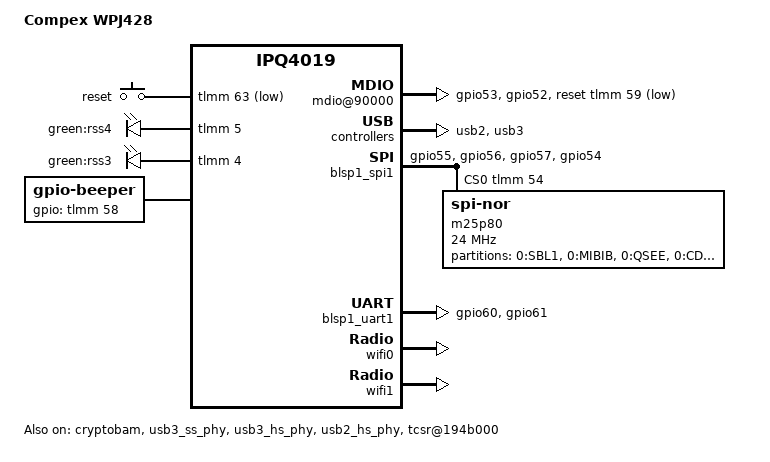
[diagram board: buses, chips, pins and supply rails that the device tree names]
/* Copyright (c) 2015, The Linux Foundation. All rights reserved.
 * Copyright (c) 2017, Christian Mehlis <christian@m3hlis.de>
 * Copyright (c) 2017-2018, Sven Eckelmann <sven.eckelmann@openmesh.com>
 *
 * Permission to use, copy, modify, and/or distribute this software for any
 * purpose with or without fee is hereby granted, provided that the above
 * copyright notice and this permission notice appear in all copies.
 *
 * THE SOFTWARE IS PROVIDED "AS IS" AND THE AUTHOR DISCLAIMS ALL WARRANTIES
 * WITH REGARD TO THIS SOFTWARE INCLUDING ALL IMPLIED WARRANTIES OF
 * MERCHANTABILITY AND FITNESS. IN NO EVENT SHALL THE AUTHOR BE LIABLE FOR
 * ANY SPECIAL, DIRECT, INDIRECT, OR CONSEQUENTIAL DAMAGES OR ANY DAMAGES
 * WHATSOEVER RESULTING FROM LOSS OF USE, DATA OR PROFITS, WHETHER IN AN
 * ACTION OF CONTRACT, NEGLIGENCE OR OTHER TORTIOUS ACTION, ARISING OUT OF
 * OR IN CONNECTION WITH THE USE OR PERFORMANCE OF THIS SOFTWARE.
 *
 */

#include "qcom-ipq4019.dtsi"
#include <dt-bindings/gpio/gpio.h>
#include <dt-bindings/input/input.h>
#include <dt-bindings/soc/qcom,tcsr.h>

/ {
	model = "Compex WPJ428";
	compatible = "compex,wpj428";

	soc {
		rng@22000 {
			status = "okay";
		};

		mdio@90000 {
			status = "okay";
			pinctrl-0 = <&mdio_pins>;
			pinctrl-names = "default";
			reset-gpios = <&tlmm 59 GPIO_ACTIVE_LOW>;
			reset-delay-us = <2000>;
		};

		ess-psgmii@98000 {
			status = "okay";
		};

		tcsr@194b000 {
			/* select hostmode */
			compatible = "qcom,tcsr";
			reg = <0x194b000 0x100>;
			qcom,usb-hsphy-mode-select = <TCSR_USB_HSPHY_HOST_MODE>;
			status = "okay";
		};

		tcsr@1949000 {
			compatible = "qcom,tcsr";
			reg = <0x1949000 0x100>;
			qcom,wifi_glb_cfg = <TCSR_WIFI_GLB_CFG>;
		};

		ess_tcsr@1953000 {
			compatible = "qcom,tcsr";
			reg = <0x1953000 0x1000>;
			qcom,ess-interface-select = <TCSR_ESS_PSGMII>;
		};

		tcsr@1957000 {
			compatible = "qcom,tcsr";
			reg = <0x1957000 0x100>;
			qcom,wifi_noc_memtype_m0_m2 = <TCSR_WIFI_NOC_MEMTYPE_M0_M2>;
		};

		usb2: usb2@60f8800 {
			status = "okay";
		};

		usb3: usb3@8af8800 {
			status = "okay";
		};

		crypto@8e3a000 {
			status = "okay";
		};

		watchdog@b017000 {
			status = "okay";
		};

		ess-switch@c000000 {
			switch_lan_bmp = <0x10>;
			switch_wan_bmp = <0x20>;

			status = "okay";
		};

		edma@c080000 {
			status = "okay";
		};
	};

	keys {
		compatible = "gpio-keys";

		reset {
			label = "reset";
			gpios = <&tlmm 63 GPIO_ACTIVE_LOW>;
			linux,code = <KEY_RESTART>;
		};
	};

	aliases {
		led-boot = &status;
		led-failsafe = &status;
		led-upgrade = &status;
	};

	leds {
		compatible = "gpio-leds";

		status: rss4 {
			label = "green:rss4";
			gpios = <&tlmm 5 GPIO_ACTIVE_HIGH>;
		};

		rss3 {
			label = "green:rss3";
			gpios = <&tlmm 4 GPIO_ACTIVE_HIGH>;
		};
	};

	beeper: beeper {
		compatible = "gpio-beeper";
		gpios = <&tlmm 58 GPIO_ACTIVE_HIGH>;
	};
};

&tlmm {
	mdio_pins: mdio_pinmux {
		mux_1 {
			pins = "gpio53";
			function = "mdio";
			bias-pull-up;
		};

		mux_2 {
			pins = "gpio52";
			function = "mdc";
			bias-pull-up;
		};
	};

	serial_pins: serial_pinmux {
		mux {
			pins = "gpio60", "gpio61";
			function = "blsp_uart0";
			bias-disable;
		};
	};

	spi_0_pins: spi_0_pinmux {
		pin {
			function = "blsp_spi0";
			pins = "gpio55", "gpio56", "gpio57";
			drive-strength = <12>;
			bias-disable;
		};
		pin_cs {
			function = "gpio";
			pins = "gpio54";
			drive-strength = <2>;
			bias-disable;
			output-high;
		};
	};
};

&blsp_dma {
	status = "okay";
};

&blsp1_spi1 {
	pinctrl-0 = <&spi_0_pins>;
	pinctrl-names = "default";
	status = "okay";
	cs-gpios = <&tlmm 54 GPIO_ACTIVE_HIGH>;

	m25p80@0 {
		compatible = "jedec,spi-nor";
		reg = <0>;
		spi-max-frequency = <24000000>;

		partitions {
			compatible = "fixed-partitions";
			#address-cells = <1>;
			#size-cells = <1>;

			partition0@0 {
				label = "0:SBL1";
				reg = <0x00000000 0x00040000>;
				read-only;
			};
			partition1@40000 {
				label = "0:MIBIB";
				reg = <0x00040000 0x00020000>;
				read-only;
			};
			partition2@60000 {
				label = "0:QSEE";
				reg = <0x00060000 0x00060000>;
				read-only;
			};
			partition3@c0000 {
				label = "0:CDT";
				reg = <0x000c0000 0x00010000>;
				read-only;
			};
			partition4@d0000 {
				label = "0:DDRPARAMS";
				reg = <0x000d0000 0x00010000>;
				read-only;
			};
			partition5@e0000 {
				label = "0:APPSBLENV"; /* uboot env*/
				reg = <0x000e0000 0x00010000>;
				read-only;
			};
			partition5@f0000 {
				label = "0:APPSBL"; /* uboot */
				reg = <0x000f0000 0x00080000>;
				read-only;
			};
			partition5@170000 {
				label = "0:ART";
				reg = <0x00170000 0x00010000>;
				read-only;
				compatible = "nvmem-cells";
				#address-cells = <1>;
				#size-cells = <1>;

				precal_art_1000: precal@1000 {
					reg = <0x1000 0x2f20>;
				};

				precal_art_5000: precal@5000 {
					reg = <0x5000 0x2f20>;
				};
			};
			partition6@180000 {
				compatible = "denx,fit";
				label = "firmware";
				reg = <0x00180000 0x01e80000>;
			};
		};
	};
};

&blsp1_uart1 {
	pinctrl-0 = <&serial_pins>;
	pinctrl-names = "default";
	status = "okay";
};

&cryptobam {
	status = "okay";
};

&gmac0 {
	qcom,phy_mdio_addr = <4>;
	qcom,poll_required = <1>;
	qcom,forced_speed = <1000>;
	qcom,forced_duplex = <1>;
	vlan_tag = <2 0x20>;
};

&gmac1 {
	qcom,phy_mdio_addr = <3>;
	qcom,poll_required = <1>;
	qcom,forced_speed = <1000>;
	qcom,forced_duplex = <1>;
	vlan_tag = <1 0x10>;
};

&usb3_ss_phy {
	status = "okay";
};

&usb3_hs_phy {
	status = "okay";
};

&usb2_hs_phy {
	status = "okay";
};

&wifi0 {
	status = "okay";
	nvmem-cell-names = "pre-calibration";
	nvmem-cells = <&precal_art_1000>;
};

&wifi1 {
	status = "okay";
	nvmem-cell-names = "pre-calibration";
	nvmem-cells = <&precal_art_5000>;
};
